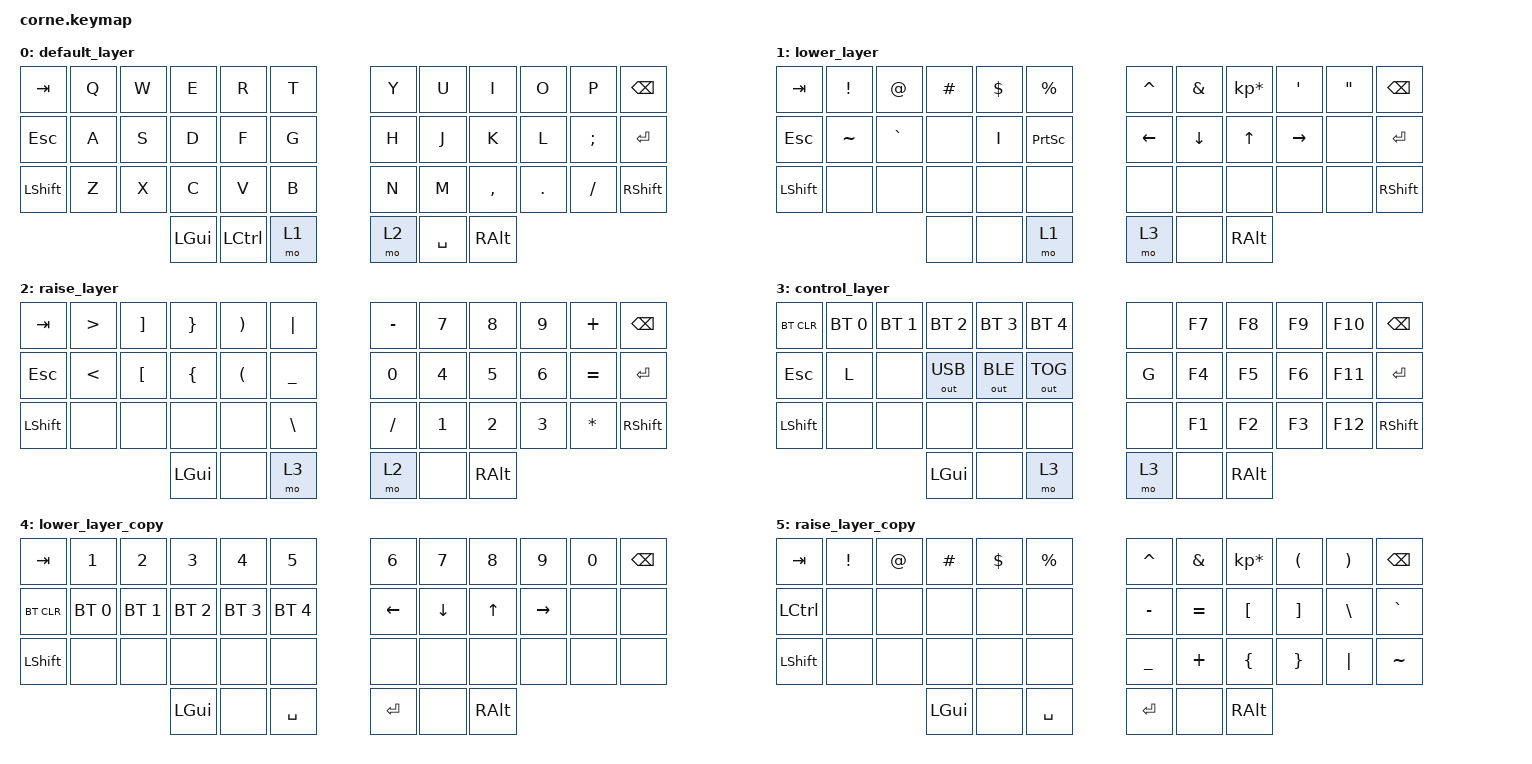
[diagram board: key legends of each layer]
/*
 * Copyright (c) 2020 The ZMK Contributors
 *
 * SPDX-License-Identifier: MIT
 */

#include <behaviors.dtsi>
#include <dt-bindings/zmk/keys.h>
#include <dt-bindings/zmk/bt.h>
#include <dt-bindings/zmk/outputs.h>

/ {
        keymap {
                compatible = "zmk,keymap";

                default_layer {
                        bindings = <
// |---------------|---------------|---------------|---------------|---------------|---------------|               |---------------|---------------|---------------|---------------|---------------|---------------|
// |    TAB        |    Q          |  W            |  E            |  R            |    T          |               |  Y            |    U          |  I            |    O          |    P          |    BKSP       |
      &kp TAB         &kp Q          &kp W           &kp E           &kp R             &kp T                          &kp Y           &kp U          &kp I           &kp O           &kp P            &kp BSPC
// |---------------|---------------|---------------|---------------|---------------|---------------|               |---------------|---------------|---------------|---------------|---------------|---------------|
// |    ESC        |    A          |  S            |  D            |  F            |  G            |               |  H            |  J            |  K            |  L            |  ;            | Enter         |
      &kp ESC        &kp A           &kp S           &kp D           &kp F            &kp G                           &kp H           &kp J           &kp K          &kp L           &kp SEMI        &kp RET
// |---------------|---------------|---------------|---------------|---------------|---------------|               |---------------|---------------|---------------|---------------|---------------|---------------|
// | SHFT          |  Z            |  X            |  C            |  V            |  B            |               |  N            |  M            |  ,            |  .            |  /            | SHIFT         |
     &kp LSHFT        &kp Z           &kp X           &kp C          &kp V            &kp B                           &kp N           &kp M           &kp COMMA       &kp DOT        &kp FSLH        &kp RSHFT
// |---------------|---------------|---------------|---------------|---------------|---------------|               |---------------|---------------|---------------|---------------|---------------|---------------|
//                                                 | GUI           | CTRL          | L1            |               | L2            | SPC           | ALT           |
                                                     &kp LGUI        &kp LCTRL       &mo 1                           &mo 2           &kp SPACE       &kp RALT
//                                                 |---------------|---------------|---------------|               |---------------|---------------|---------------|
                        >;
                };
                lower_layer {

                        bindings = <
// |---------------|---------------|---------------|---------------|---------------|---------------|               |---------------|---------------|---------------|---------------|---------------|---------------|
// | TAB           |  !            |  @            |  #            |  $            |  %            |               |  ^            |  &            |  *            |  '            |  "            | BKSP          |
     &kp  TAB        &kp EXCL        &kp AT          &kp HASH        &kp DLLR        &kp PRCNT                        &kp CARET       &kp AMPS       &kp KP_MULTIPLY   &kp SQT       &kp DQT        &kp BSPC
// |---------------|---------------|---------------|---------------|---------------|---------------|               |---------------|---------------|---------------|---------------|---------------|---------------|
// | ESC           | ~             | `             |               | test letter   | printScreen   |               | LFT           | DWN           |  UP           | RGT           |               | Enter         |
     &kp ESC         &kp TILDE       &kp GRAVE       &none          &kp I           &kp PSCRN                       &kp LEFT        &kp DOWN         &kp UP         &kp RIGHT       &none          &kp RET
// |---------------|---------------|---------------|---------------|---------------|---------------|               |---------------|---------------|---------------|---------------|---------------|---------------|
// | SHFT          |               |               |               |               |               |               |               |               |               |               |               | Shift         |
     &kp LSHFT       &none           &none           &none           &none           &none                           &none           &none           &none           &none           &none           &kp RSHIFT
// |---------------|---------------|---------------|---------------|---------------|---------------|               |---------------|---------------|---------------|---------------|---------------|---------------|
//                                                 | GUI           | CTRL          | L1            |               | L3            | SPC           | ALT           |
                          	                     &none           &none           &mo 1                           &mo 3           &none           &kp RALT
//                                                 |---------------|---------------|---------------|               |---------------|---------------|---------------|
                        >;
                };

                raise_layer {
                        bindings = <
// |---------------|---------------|---------------|---------------|---------------|---------------|               |---------------|---------------|---------------|---------------|---------------|---------------|
// | TAB           |  >            |  ]            |  }            |  )            |  "|"          |               |  -            |  7            |  8            |  9            |  +            | BKSP          |
     &kp  TAB        &kp GT          &kp RBKT         &kp RBRC        &kp RPAR        &kp PIPE                        &kp MINUS       &kp N7          &kp N8          &kp N9          &kp PLUS       &kp BSPC
// |---------------|---------------|---------------|---------------|---------------|---------------|               |---------------|---------------|---------------|---------------|---------------|---------------|
// | ESC           |  <            |  [            |  {            |  (            |  _            |               |  0            |  4            |  5            |  6            |  =            | Enter         |
     &kp ESC        &kp LT          &kp LBKT         &kp LBRC        &kp LPAR        &kp UNDER                       &kp N0          &kp N4          &kp N5          &kp N6          &kp EQUAL       &kp RET
// |---------------|---------------|---------------|---------------|---------------|---------------|               |---------------|---------------|---------------|---------------|---------------|---------------|
// | SHFT          |               |               |               |               |  \            |               |  /            |  1            |  2            |  3            |  *            |  Shift        |
     &kp LSHFT       &none          &none            &none           &none           &kp BSLH                         &kp FSLH        &kp N1          &kp N2          &kp N3          &kp STAR        &kp RSHIFT
// |---------------|---------------|---------------|---------------|---------------|---------------|               |---------------|---------------|---------------|---------------|---------------|---------------|
//                                                 | GUI           | CTRL          | L3            |               | L2            | SPC           | ALT           |
                    	                             &kp LGUI        &none           &mo 3                           &mo 2           &none           &kp RALT
//                                                 |---------------|---------------|---------------|               |---------------|---------------|---------------|
                        >;
                };

                control_layer {

                        bindings = <
// |---------------|---------------|---------------|---------------|---------------|---------------|               |---------------|---------------|---------------|---------------|---------------|---------------|
// | BTCLR         | BT1           | BT2           | BT3           | BT4           | BT5           |               |               |               |               |               |               |               |
     &bt BT_CLR      &bt BT_SEL 0    &bt BT_SEL 1    &bt BT_SEL 2    &bt BT_SEL 3    &bt BT_SEL 4                    &none           &kp F7          &kp F8          &kp F9          &kp F10         &kp BKSP
// |---------------|---------------|---------------|---------------|---------------|---------------|               |---------------|---------------|---------------|---------------|---------------|---------------|
// |               |               |               | OUT_USB       | OUT_BLE       | OUT_TOG       |               |               |               |               |               |               |               |
     &kp ESC         &kp L           &none           &out OUT_USB    &out OUT_BLE    &out OUT_TOG                    &kp G           &kp F4          &kp F5          &kp F6          &kp F11         &kp RET
// |---------------|---------------|---------------|---------------|---------------|---------------|               |---------------|---------------|---------------|---------------|---------------|---------------|
// |               |               |               |               |               |               |               |               |               |               |               |               |               |
     &kp LSHIFT      &none           &none           &none           &none           &none                           &none           &kp F1          &kp F2          &kp F3          &kp F12         &kp RSHIFT
// |---------------|---------------|---------------|---------------|---------------|---------------|               |---------------|---------------|---------------|---------------|---------------|---------------|
//                                                 | GUI           | CTRL          | L3            |               | L2            | SPC           | ALT           |
                    	                             &kp LGUI        &none           &mo 3                           &mo 3           &none           &kp RALT
//                                                 |---------------|---------------|---------------|               |---------------|---------------|---------------|
                        >;
                };


                lower_layer_copy {

                        bindings = <
// |---------------|---------------|---------------|---------------|---------------|---------------|               |---------------|---------------|---------------|---------------|---------------|---------------|
// | TAB           |  1            |  2            |  3            |  4            |  5            |               |  6            |  7            |  8            |  9            |  0            | BKSP          |
     &kp TAB          &kp N1          &kp N2          &kp N3          &kp N4          &kp N5                          &kp N6          &kp N7          &kp N8         &kp N9           &kp N0         &kp BSPC
// |---------------|---------------|---------------|---------------|---------------|---------------|               |---------------|---------------|---------------|---------------|---------------|---------------|
// | BTCLR         | BT1           | BT2           | BT3           | BT4           | BT5           |               | LFT           | DWN           |  UP           | RGT           |               |               |
     &bt BT_CLR      &bt BT_SEL 0    &bt BT_SEL 1    &bt BT_SEL 2    &bt BT_SEL 3    &bt BT_SEL 4                    &kp LEFT        &kp DOWN         &kp UP         &kp RIGHT       &none           &none 
// |---------------|---------------|---------------|---------------|---------------|---------------|               |---------------|---------------|---------------|---------------|---------------|---------------|
// | SHFT          |               |               |               |               |               |               |               |               |               |               |               |               |
     &kp LSHFT       &none           &none           &none           &none           &none                           &none           &none           &none           &none           &none           &none 
// |---------------|---------------|---------------|---------------|---------------|---------------|               |---------------|---------------|---------------|---------------|---------------|---------------|
//                                                 | GUI           |               | SPC           |               | ENT           |               | ALT           |
                          	                     &kp LGUI        &none           &kp SPACE                       &kp RET         &none           &kp RALT
//                                                 |---------------|---------------|---------------|               |---------------|---------------|---------------|
                        >;
                };

                raise_layer_copy {
                        bindings = <
// |---------------|---------------|---------------|---------------|---------------|---------------|               |---------------|---------------|---------------|---------------|---------------|---------------|
// | TAB           |  !            |  @            |  #            |  $            |  %            |               |  ^            |  &            |  *            |  (            |  )            | BKSP          |
     &kp  TAB        &kp EXCL        &kp AT          &kp HASH        &kp DLLR        &kp PRCNT                       &kp CARET       &kp AMPS       &kp KP_MULTIPLY   &kp LPAR       &kp RPAR        &kp BSPC
// |---------------|---------------|---------------|---------------|---------------|---------------|               |---------------|---------------|---------------|---------------|---------------|---------------|
// | CTRL          |               |               |               |               |               |               |  -            |  =            |  [            |  ]            |  \            |  `            |
     &kp LCTRL       &none           &none           &none           &none           &none                           &kp MINUS        &kp EQUAL       &kp LBKT        &kp RBKT        &kp BSLH       &kp GRAVE
// |---------------|---------------|---------------|---------------|---------------|---------------|               |---------------|---------------|---------------|---------------|---------------|---------------|
// | SHFT          |               |               |               |               |               |               |  _            |  +            |  {            |  }            | "|"           |  ~            |
     &kp LSHFT       &none          &none            &none           &none           &none                            &kp UNDER       &kp PLUS        &kp LBRC        &kp RBRC        &kp PIPE        &kp TILDE
// |---------------|---------------|---------------|---------------|---------------|---------------|               |---------------|---------------|---------------|---------------|---------------|---------------|
//                                                 | GUI           |               | SPC           |               | ENT           |               | ALT           |
                    	                             &kp LGUI        &none           &kp SPACE                       &kp RET         &none           &kp RALT
//                                                 |---------------|---------------|---------------|               |---------------|---------------|---------------|
                        >;
                };
        };
};
